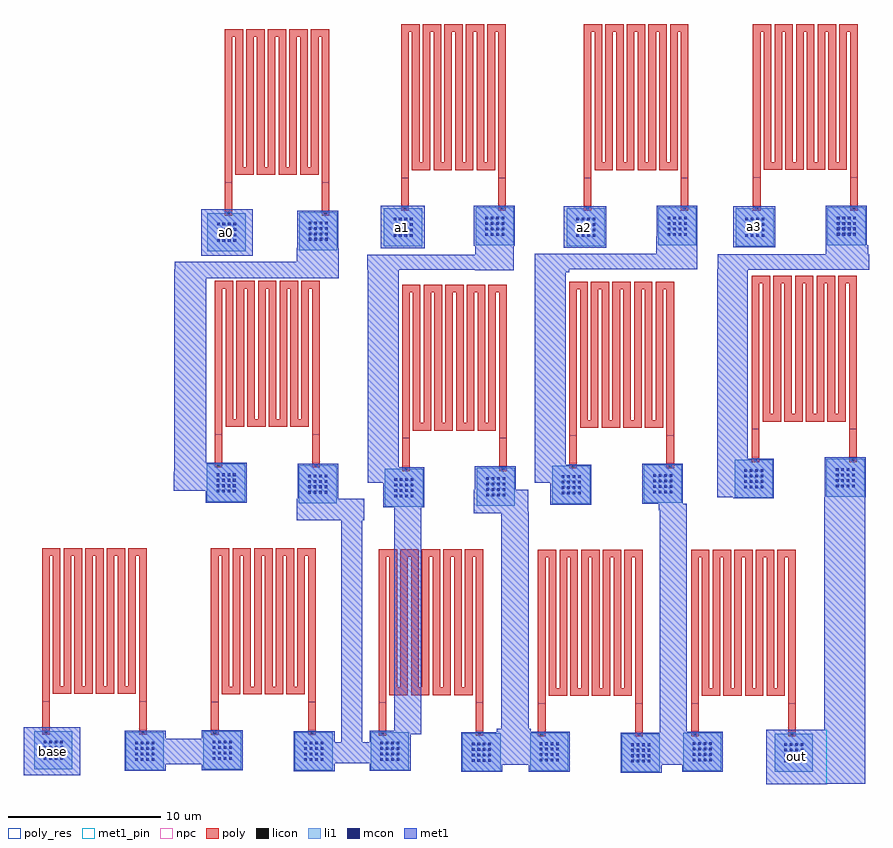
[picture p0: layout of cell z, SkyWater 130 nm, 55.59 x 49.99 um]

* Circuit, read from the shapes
.subckt z a0 a1 a2 a3 base out
R1 base n1 sky130_fd_pr__res_generic_po w=0.5 l=98.93
R2 n1 n2 sky130_fd_pr__res_generic_po w=0.5 l=98.93
R3 n3 n2 sky130_fd_pr__res_generic_po w=0.5 l=98.93
R4 a0 n3 sky130_fd_pr__res_generic_po w=0.5 l=98.93
R5 n2 n4 sky130_fd_pr__res_generic_po w=0.5 l=98.93 m=2
R6 a1 n2 sky130_fd_pr__res_generic_po w=0.5 l=98.93
R7 n4 n5 sky130_fd_pr__res_generic_po w=0.5 l=98.93
R8 n6 n5 sky130_fd_pr__res_generic_po w=0.5 l=98.93
R9 a2 n6 sky130_fd_pr__res_generic_po w=0.5 l=98.93
R10 n5 out sky130_fd_pr__res_generic_po w=0.5 l=98.93
R11 n7 out sky130_fd_pr__res_generic_po w=0.5 l=98.93
R12 a3 n7 sky130_fd_pr__res_generic_po w=0.5 l=98.93
.ends

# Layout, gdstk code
from math import pi, radians
import gdstk
lib = gdstk.Library(unit=1e-6, precision=1e-09)
def R(c, l, rs):  # rectangles x0, y0, x1, y1
    for r in rs: c.add(gdstk.rectangle(r[:2], r[2:], *l))
def A(c, l, x, y, w, h, nx, ny, dx, dy):  # array of equal rectangles
    R(c, l, [(x+i*dx, y+j*dy, x+i*dx+w, y+j*dy+h) for i in range(nx) for j in range(ny)])
poly_res = (66, 13)
poly = (66, 20)
licon = (66, 44)
li1 = (67, 20)
mcon = (67, 44)
met1_pin = (68, 16)
met1 = (68, 20)
npc = (95, 20)

sky130_fd_pr__res_generi = lib.new_cell('sky130_fd_pr__res_generic_po_NWKZT9')
A(sky130_fd_pr__res_generi, poly_res, -2.735, -3.465, 1.21, 0.5, 4, 1, 1.42, 0)
A(sky130_fd_pr__res_generi, poly_res, -2.735, -2.965, 0.5, 8.6, 8, 1, 0.71, 0)
A(sky130_fd_pr__res_generi, poly_res, -3.445, 5.635, 1.21, 0.5, 5, 1, 1.42, 0)
R(sky130_fd_pr__res_generi, poly_res, [(-3.445,-3.985,-2.945,5.635), (2.945,-3.985,3.445,5.635)])
A(sky130_fd_pr__res_generi, poly, -2.735, -3.465, 1.21, 0.5, 4, 1, 1.42, 0)
A(sky130_fd_pr__res_generi, poly, -2.735, -2.965, 0.5, 8.6, 8, 1, 0.71, 0)
A(sky130_fd_pr__res_generi, poly, -3.445, 5.635, 1.21, 0.5, 5, 1, 1.42, 0)
R(sky130_fd_pr__res_generi, poly, [(-3.445,-6.135,-2.945,5.635), (2.945,-6.135,3.445,5.635)])
R(sky130_fd_pr__res_generi, licon, [(-3.28,-6.055,-3.11,-5.885), (3.11,-6.055,3.28,-5.885)])
R(sky130_fd_pr__res_generi, li1, [(-3.445,-6.055,-2.945,-5.885), (2.945,-6.055,3.445,-5.885)])
R(sky130_fd_pr__res_generi, npc, [(-3.38,-6.155,-3.01,-5.785), (3.01,-6.155,3.38,-5.785)])

lcon_m1 = lib.new_cell('lcon_m1')
R(lcon_m1, li1, [(0.49,0,3,2.5)])
A(lcon_m1, mcon, 1.12, 0.625, 0.17, 0.17, 4, 4, 0.36, 0.36)
R(lcon_m1, met1, [(0.42,-0.05,3.11,2.58)])

r10k = lib.new_cell('R10k')
r10k.add(gdstk.Reference(sky130_fd_pr__res_generi, (3.445,6.135)))
r10k.add(gdstk.Reference(lcon_m1, (-1.01,-2.27)))
r10k.add(gdstk.Reference(lcon_m1, (5.02,-2.34)))

c_z = lib.new_cell('z')
R(c_z, met1_pin, [(48.23,-0.86,52.21,2.71), (-0.6,-0.3,3.12,2.88), (11.05,33.87,14.44,36.95), (22.87,34.37,25.75,37.16), (34.92,34.4,37.69,37.13), (46.07,34.46,48.83,37.14)])
R(c_z, met1, [(48.23,-0.86,52.21,-0.85), (48.23,-0.85,54.73,2.71), (-0.6,-0.3,3.12,2.88), (30.51,0.41,32.74,0.59), (41.04,0.42,42.89,0.49), (8.22,0.44,11.46,2.1), (41.04,0.49,43,1.82), (19.75,0.51,22.31,1.89), (30.51,0.59,32.97,1.87), (41.21,1.82,43,17.14), (30.51,1.87,32.74,2.79), (20.28,1.89,21.65,16.48), (23.76,2.42,25.55,18.94), (52.04,2.71,54.73,18.01), (30.8,2.79,32.59,16.94), (17.34,16.48,21.8,17.91), (28.99,16.94,32.59,17.06), (28.99,17.06,32.57,18.51), (41.17,17.14,43,17.59), (45.02,18.01,47.01,32.98), (9.26,18.43,11.55,19.69), (22.01,18.94,25.55,19.07), (33.01,18.97,35.04,32.8), (22.01,19.07,24.05,32.98), (9.29,19.69,11.4,32.4), (9.29,32.4,20.08,32.41), (9.29,32.41,20.12,33), (33.01,32.8,35.28,33.01), (29.09,32.93,31.63,32.98), (21.97,32.98,31.63,33.96), (45.02,32.98,54.99,33.01), (9.32,33,20.12,33.48), (32.99,33.01,43.7,34.01), (45.04,33.01,54.99,34), (17.36,33.48,20.12,34.38), (11.05,33.87,14.44,36.95), (29.09,33.96,31.63,34.7), (52.13,34,54.95,34.57), (40.98,34.01,43.7,34.65), (22.87,34.37,25.75,37.16), (17.4,34.38,19.93,34.47), (34.92,34.4,37.69,37.13), (46.07,34.46,48.83,37.14), (40.98,34.65,43.69,35.18)])
c_z.add(gdstk.Reference(r10k, (0.59,2.39)))
c_z.add(gdstk.Reference(r10k, (11.7,2.38)))
c_z.add(gdstk.Reference(r10k, (22.73,2.32)))
c_z.add(gdstk.Reference(r10k, (33.21,2.27)))
c_z.add(gdstk.Reference(r10k, (43.28,2.28)))
c_z.add(gdstk.Reference(r10k, (11.96,19.96)))
c_z.add(gdstk.Reference(r10k, (31.16,19.72), rotation=pi, x_reflection=True))
c_z.add(gdstk.Reference(r10k, (42.16,19.91), rotation=pi, x_reflection=True))
c_z.add(gdstk.Reference(r10k, (54.17,20.31), rotation=pi, x_reflection=True))
c_z.add(gdstk.Reference(r10k, (19.49,36.53), rotation=pi, x_reflection=True))
c_z.add(gdstk.Reference(r10k, (31.1,36.85), rotation=pi, x_reflection=True))
c_z.add(gdstk.Reference(r10k, (43.11,36.85), rotation=pi, x_reflection=True))
c_z.add(gdstk.Reference(r10k, (54.24,36.86), rotation=pi, x_reflection=True))
c_z.add(gdstk.Label('base', (1.26,1.29), layer=68, texttype=5))
c_z.add(gdstk.Label('out', (50.22,0.925), layer=68, texttype=5))
c_z.add(gdstk.Label('a0', (12.745,35.41), layer=68, texttype=5))
c_z.add(gdstk.Label('a1', (24.31,35.765), layer=68, texttype=5))
c_z.add(gdstk.Label('a2', (36.305,35.765), layer=68, texttype=5))
c_z.add(gdstk.Label('a3', (47.45,35.8), layer=68, texttype=5))

lib.write_gds('z.gds')
